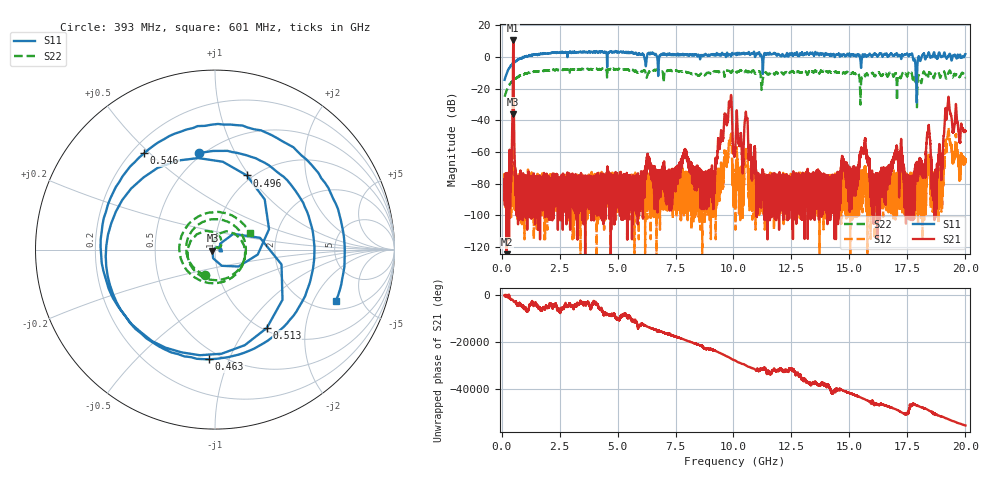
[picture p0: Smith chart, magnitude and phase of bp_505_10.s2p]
!Created with skrf (http://scikit-rf.org).
# GHz S RI R 50.0
!freq ReS11 ImS11 ReS21 ImS21 ReS12 ImS12 ReS22 ImS22
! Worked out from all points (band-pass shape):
!   20013 points, 130 MHz to 20 GHz, reference 50 ohm
!   highest |S21| = 10.54 dB at 504 MHz (marker M1); lowest = -178.6 dB at 219 MHz (marker M2)
!   |S21| within 3 dB of the highest: 498.1 MHz to 510.1 MHz (11.99 MHz wide, 2.38 % of centre)
!   lowest |S11| = -36.2 dB at 503 MHz (marker M3), VSWR 1.03, Z = 48.6 - j0.59 ohm
!   |S11| at or under -10 dB: start of sweep to 232.4 MHz; 498.1 MHz to 510.5 MHz (12.46 MHz wide, 2.47 % of centre); 17.85736 GHz to 17.91907 GHz (61.71 MHz wide, 0.345 % of centre) (the widest 3 of 5)
!   |S22| runs from -36.2 to -7.1 dB; largest |S21 - S12| = 3.4
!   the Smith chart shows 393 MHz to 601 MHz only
!   S11 on the Smith chart (normalised r, x): 393 MHz: 0.48, +0.73; 463 MHz: 0.43, -0.85; 496 MHz: 0.94, +0.97; 513 MHz: 1.04, -1.25; 546 MHz: 0.25, +0.48; 601 MHz: 2.45, -3.04
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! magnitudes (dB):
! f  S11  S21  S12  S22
! 130 MHz  -14.3  -77.1  -79.0  -25.1
! 219 MHz  -10.5  -178.6  -80.1  -21.0
! 393 MHz  -5.3  -72.1  -90.5  -16.4
! 463 MHz  -4.3  -45.1  -86.8  -15.3
! 496 MHz  -6.9  3.3  -41.0  -17.5
! 503 MHz  -36.2  10.5  -33.8  -36.0
! 504 MHz  -35.6  10.5  -33.7  -36.2
! 513 MHz  -5.6  -0.2  -44.5  -16.2
! 546 MHz  -3.5  -51.3  -83.0  -14.2
! 601 MHz  -2.7  -85.9  -80.5  -13.4
! 3.442 GHz  2.9  -87.5  -84.7  -7.6
! 6.754 GHz  -11.9  -77.7  -76.5  -8.3
! 9.087 GHz  1.3  -77.4  -85.4  -9.6
! 9.839 GHz  1.7  -31.6  -54.6  -9.0
! 10.06 GHz  2.3  -59.7  -81.9  -8.2
! 13.38 GHz  2.3  -101.8  -80.4  -9.0
! 16.69 GHz  1.2  -76.8  -90.1  -11.0
! 17.7 GHz  2.3  -100.9  -93.6  -11.0
! 18.4 GHz  2.5  -44.8  -62.1  -11.6
! 18.66 GHz  2.6  -76.5  -80.0  -12.1
! 19.22 GHz  -0.4  -32.6  -51.8  -11.7
! 20 GHz  2.0  -46.8  -65.4  -12.7
